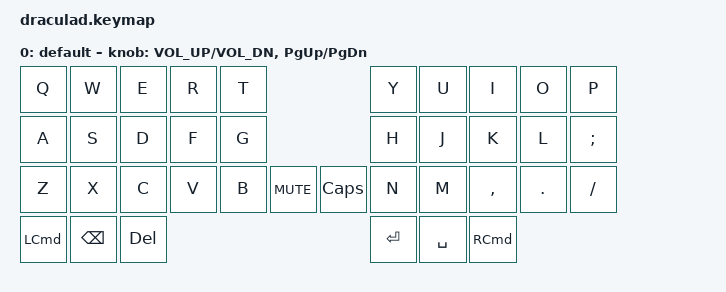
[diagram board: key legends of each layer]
/*
 * Copyright (c) 2020 The ZMK Contributors
 *
 * SPDX-License-Identifier: MIT
 */

#include <behaviors.dtsi>
#include <dt-bindings/zmk/keys.h>
#include <dt-bindings/zmk/bt.h>
#include <dt-bindings/zmk/outputs.h>
#include <dt-bindings/zmk/ext_power.h>

/ {
    keymap {
        compatible = "zmk,keymap";

        default {
           bindings = <
            &kp Q    &kp W    &kp E   &kp R &kp T                     &kp Y   &kp U     &kp I     &kp O   &kp P
            &kp A    &kp S    &kp D   &kp F &kp G                     &kp H   &kp J     &kp K     &kp L   &kp SEMI
            &kp Z    &kp X    &kp C   &kp V &kp B &kp C_MUTE &kp CAPS &kp N   &kp M     &kp COMMA &kp DOT &kp FSLH
            &kp LCMD &kp BSPC &kp DEL                                 &kp RET &kp SPACE &kp RCMD
            >;
            sensor-bindings = <&inc_dec_kp C_VOL_UP C_VOL_DN &inc_dec_kp PG_UP PG_DN>;
        };
    };
};
